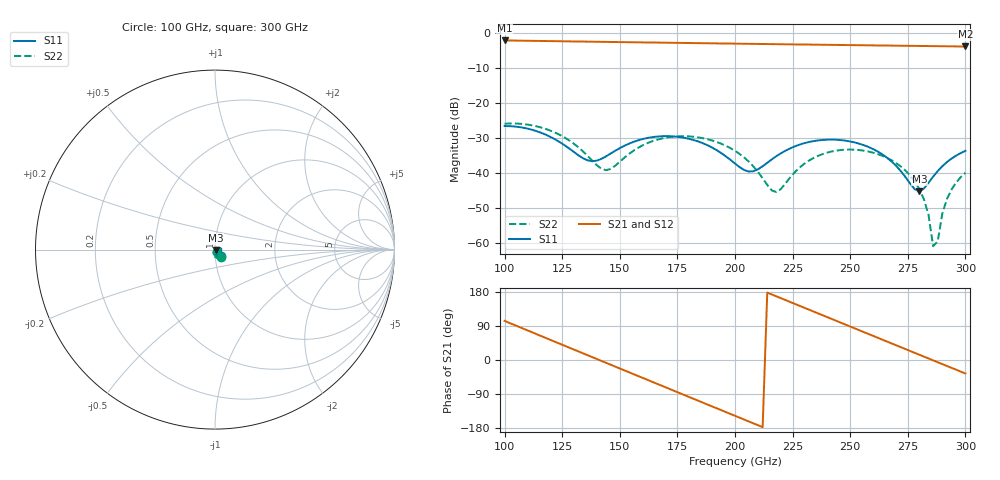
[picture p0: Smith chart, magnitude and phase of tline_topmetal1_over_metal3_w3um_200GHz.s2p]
#  GHZ S DB R 50
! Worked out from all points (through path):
!   101 points, 100 GHz to 300 GHz, reference 50 ohm
!   highest |S21| = -2.02 dB at 100 GHz (marker M1); lowest = -3.7 dB at 300 GHz (marker M2)
!   group delay of S21, straight-line fit = 6.93 ps
!   lowest |S11| = -45.1 dB at 280 GHz (marker M3), VSWR 1.01, Z = 50.3 - j0.46 ohm
!   |S11| at or under -10 dB: start of sweep to end of sweep
!   |S22| runs from -60.8 to -25.7 dB; largest |S21 - S12| = 9.1e-14
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100  -26.47 -45.6  -2.02 103.1  -2.02 103.1  -25.83 -49.9
116  -28.44 -72.2  -2.17 62.9  -2.17 62.9  -26.92 -81.6
134  -35.66 -69.1  -2.34 17.7  -2.34 17.7  -33.70 -104.1
138  -36.53 -53.7  -2.38 7.6  -2.38 7.6  -36.34 -99.0
144  -35.15 -33.7  -2.43 -7.4  -2.43 -7.4  -39.10 -69.8
156  -30.99 -31.9  -2.54 -37.4  -2.54 -37.4  -33.50 -38.3
168  -29.40 -48.7  -2.65 -67.4  -2.65 -67.4  -30.07 -53.9
184  -30.88 -74.3  -2.79 -107.4  -2.79 -107.4  -29.71 -85.0
200  -37.20 -79.4  -2.93 -147.3  -2.93 -147.3  -33.56 -115.0
208  -39.40 -47.2  -3.00 -167.2  -3.00 -167.2  -38.03 -122.7
218  -35.06 -24.8  -3.08 167.9  -3.08 167.9  -45.35 -76.5
234  -30.79 -42.8  -3.22 128.1  -3.22 128.1  -35.63 -46.8
250  -30.88 -72.1  -3.35 88.4  -3.35 88.4  -33.20 -77.7
268  -36.63 -99.3  -3.49 43.7  -3.49 43.7  -36.27 -117.4
274  -41.07 -95.6  -3.54 28.8  -3.54 28.8  -39.20 -130.5
280  -45.13 -55.7  -3.59 13.9  -3.59 13.9  -44.45 -142.3
284  -42.68 -25.2  -3.62 4.0  -3.62 4.0  -51.87 -145.2
286  -40.93 -18.7  -3.64 -1.0  -3.64 -1.0  -60.80 -128.5
288  -39.33 -15.9  -3.65 -5.9  -3.65 -5.9  -59.43 -12.9
290  -37.96 -15.4  -3.67 -10.9  -3.67 -10.9  -51.43 -0.8
292  -36.78 -16.3  -3.69 -15.8  -3.69 -15.8  -47.31 -1.4
300  -33.57 -26.4  -3.75 -35.6  -3.75 -35.6  -39.82 -16.2
